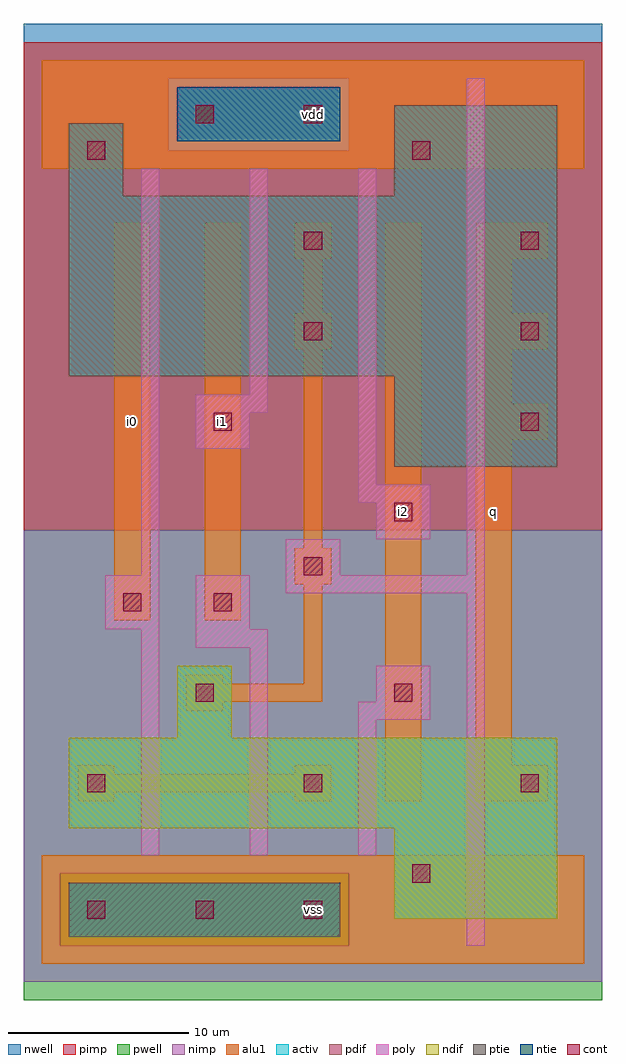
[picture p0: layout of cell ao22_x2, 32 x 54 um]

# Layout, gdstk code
import gdstk
lib = gdstk.Library(unit=1e-6, precision=1e-09)
def R(c, l, rs):  # rectangles x0, y0, x1, y1
    for r in rs: c.add(gdstk.rectangle(r[:2], r[2:], *l))
def A(c, l, x, y, w, h, nx, ny, dx, dy):  # array of equal rectangles
    R(c, l, [(x+i*dx, y+j*dy, x+i*dx+w, y+j*dy+h) for i in range(nx) for j in range(ny)])
ndif = (3, 0)
pdif = (4, 0)
ntie = (5, 0)
ptie = (6, 0)
cont = (25, 0)
pwell = (41, 0)
nwell = (42, 0)
activ = (43, 0)
pimp = (44, 0)
nimp = (45, 0)
poly = (46, 0)
alu1 = (49, 0)

ao22_x2 = lib.new_cell('ao22_x2')
R(ao22_x2, ndif, [(19.5,2.5,28.5,7.5), (1.5,7.5,28.5,12.5), (7.5,12.5,10.5,16.5)])
R(ao22_x2, pdif, [(19.5,27.5,28.5,32.5), (1.5,32.5,28.5,42.5), (1.5,42.5,4.5,46.5), (19.5,42.5,28.5,47.5)])
R(ao22_x2, ntie, [(7.5,45.5,16.5,48.5)])
R(ao22_x2, ptie, [(1.5,1.5,16.5,4.5)])
A(ao22_x2, cont, 2.5, 2.5, 1, 1, 3, 1, 6, 0)
A(ao22_x2, cont, 2.5, 9.5, 1, 1, 3, 1, 12, 0)
A(ao22_x2, cont, 26.5, 29.5, 1, 1, 1, 3, 0, 5)
R(ao22_x2, cont, [(20.5,4.5,21.5,5.5), (8.5,14.5,9.5,15.5), (19.5,14.5,20.5,15.5), (4.5,19.5,5.5,20.5), (9.5,19.5,10.5,20.5), (14.5,21.5,15.5,22.5), (19.5,24.5,20.5,25.5), (9.5,29.5,10.5,30.5), (14.5,34.5,15.5,35.5), (14.5,39.5,15.5,40.5), (2.5,44.5,3.5,45.5), (20.5,44.5,21.5,45.5), (8.5,46.5,9.5,47.5), (14.5,46.5,15.5,47.5)])
R(ao22_x2, pwell, [(-1,-2,31,24)])
R(ao22_x2, nwell, [(-1,24,31,52)])
R(ao22_x2, activ, [(1.5,1.5,16.5,4.5), (19.5,2.5,28.5,7.5), (1.5,7.5,28.5,12.5), (7.5,12.5,10.5,16.5), (19.5,27.5,28.5,32.5), (1.5,32.5,28.5,42.5), (1.5,42.5,4.5,46.5), (19.5,42.5,28.5,47.5), (7.5,45.5,16.5,48.5)])
R(ao22_x2, pimp, [(1,1,17,5), (-1,24,31,45), (-1,45,7,49), (17,45,31,49), (-1,49,31,51)])
R(ao22_x2, nimp, [(-1,-1,31,1), (-1,1,1,5), (17,1,31,5), (-1,5,31,24), (7,45,17,49)])
R(ao22_x2, poly, [(23.5,1,24.5,20.5), (5.5,6,6.5,18.5), (11.5,6,12.5,17.5), (17.5,6,18.5,13.5), (17.5,13.5,21.5,14.5), (18.5,14.5,21.5,16.5), (8.5,17.5,12.5,18.5), (3.5,18.5,6.5,21.5), (8.5,18.5,11.5,21.5), (13.5,20.5,24.5,21.5), (5.5,21.5,6.5,44), (13.5,21.5,16.5,23.5), (23.5,21.5,24.5,49), (18.5,23.5,21.5,25.5), (17.5,25.5,21.5,26.5), (17.5,26.5,18.5,44), (8.5,28.5,11.5,30.5), (8.5,30.5,12.5,31.5), (11.5,31.5,12.5,44)])
A(ao22_x2, alu1, 24, 29, 4, 2, 1, 3, 0, 5)
R(ao22_x2, alu1, [(0,0,30,6), (2,9,4,9.5), (14,9,16,9.5), (19,9,21,41), (24,9,28,11), (2,9.5,16,10.5), (2,10.5,4,11), (14,10.5,16,11), (24,11,26,29), (8,14,10,14.5), (8,14.5,15.5,15.5), (8,15.5,10,16), (14.5,15.5,15.5,21), (4,19,6,41), (9,19,11,41), (14,21,16,23), (14.5,23,15.5,34), (24,31,26,34), (14,34,16,36), (14.5,36,15.5,39), (24,36,26,39), (14,39,16,41), (0,44,30,50)])
ao22_x2.add(gdstk.Label('i0', (5,30), layer=49, texttype=0))
ao22_x2.add(gdstk.Label('i1', (10,30), layer=49, texttype=0))
ao22_x2.add(gdstk.Label('vss', (15,3), layer=49, texttype=0))
ao22_x2.add(gdstk.Label('i2', (20,25), layer=49, texttype=0))
ao22_x2.add(gdstk.Label('vdd', (15,47), layer=49, texttype=0))
ao22_x2.add(gdstk.Label('q', (25,25), layer=49, texttype=0))

lib.write_gds('ao22_x2.gds')
